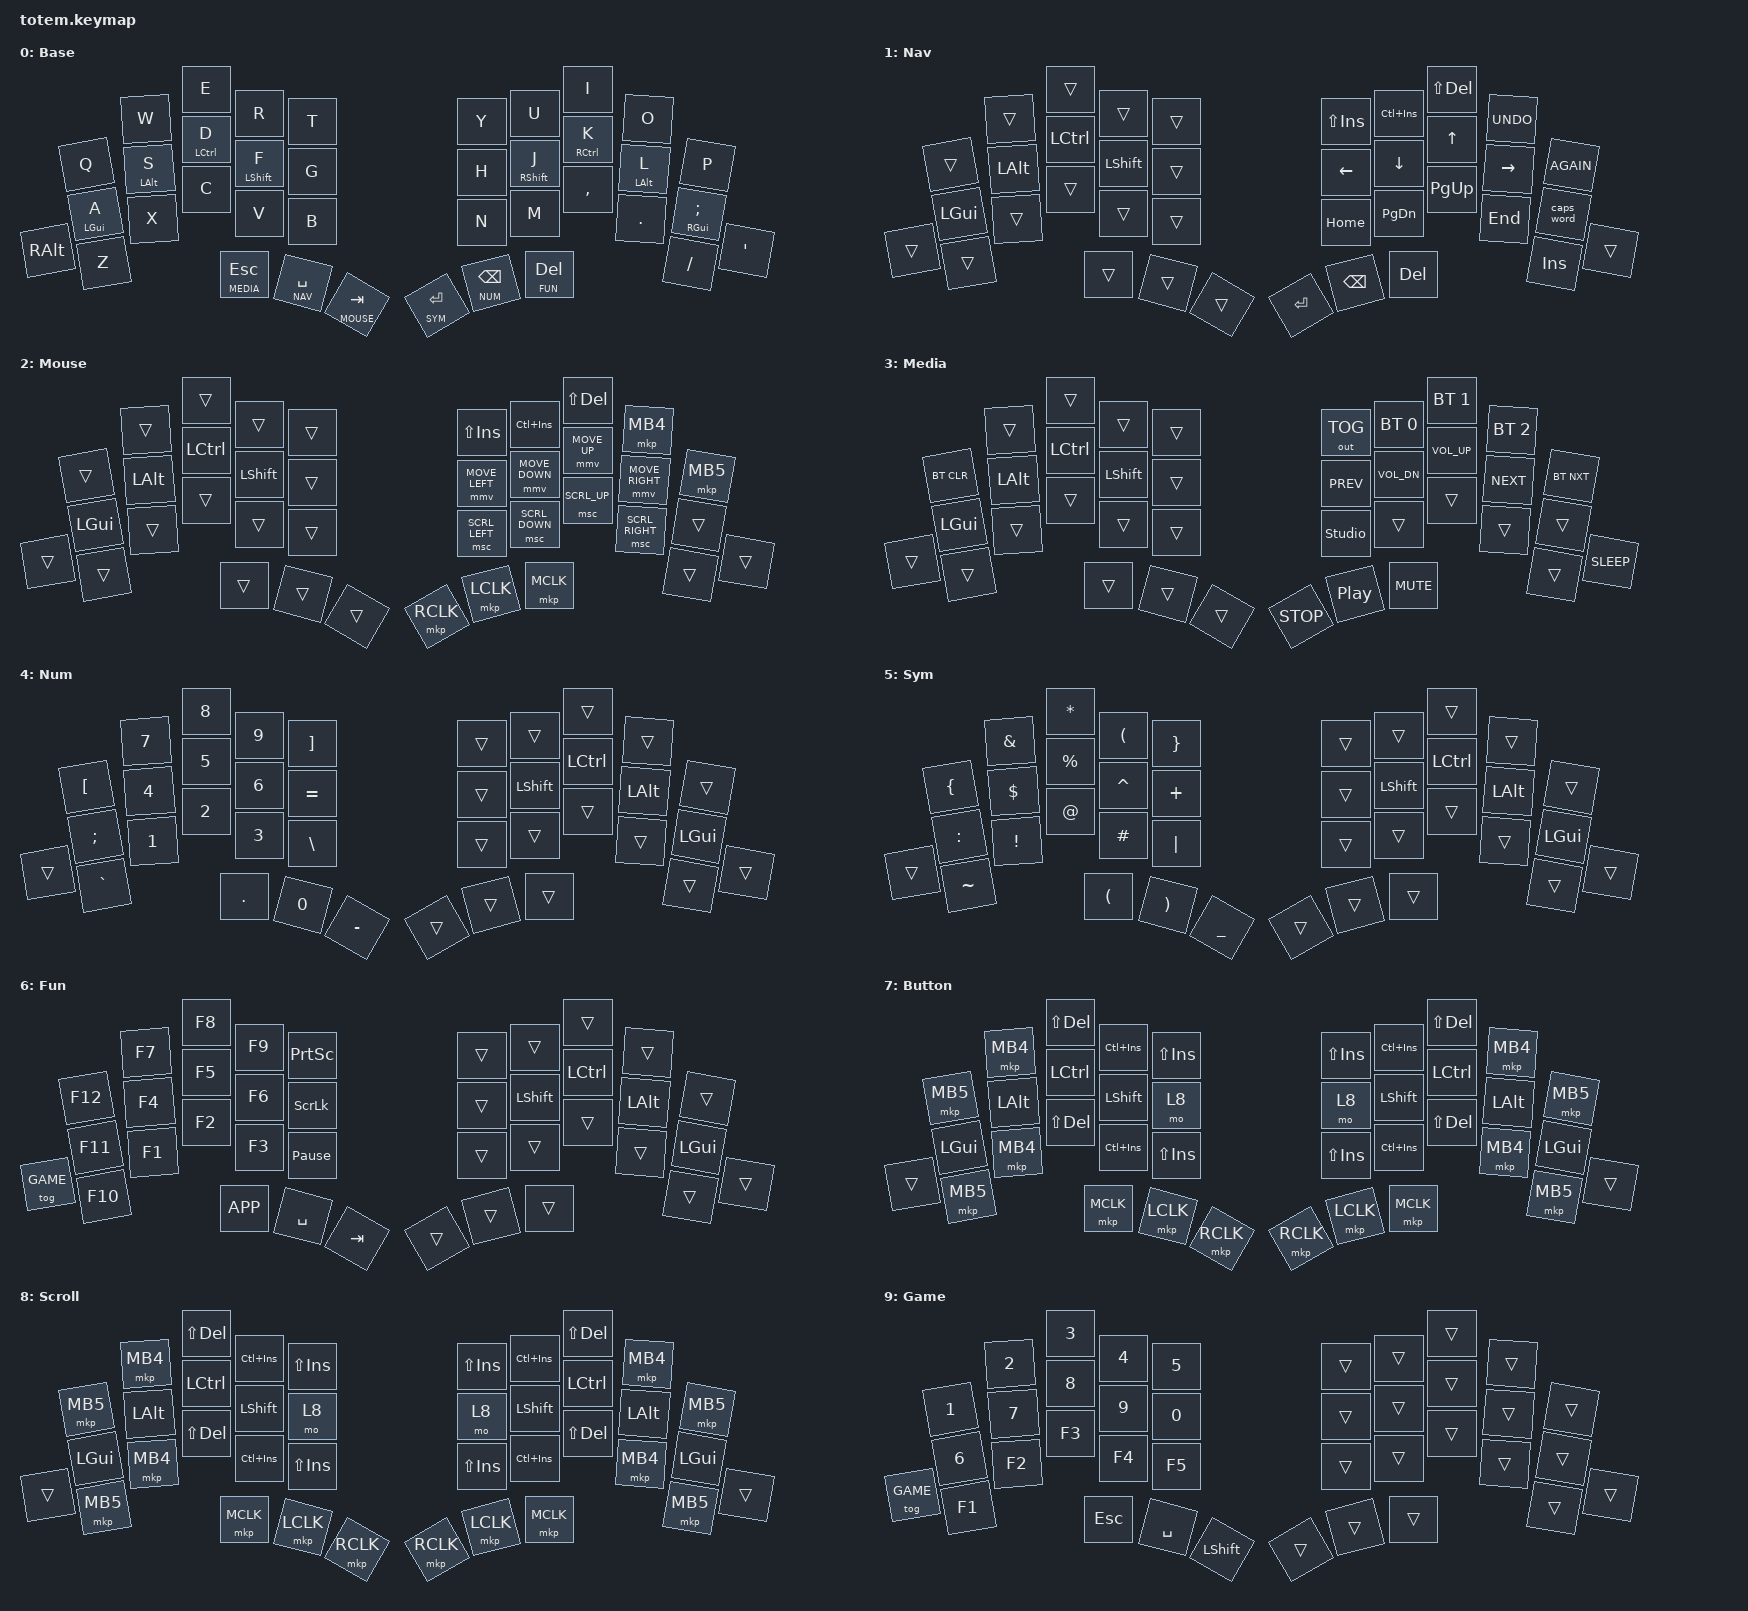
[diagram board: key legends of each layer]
//
//                                                        ▀▀▀▀▀     ▀▀▀▀▀          ▀▀█▀▀
//                                                        ▄▀▀▀▄  ▄  ▄▀▀▀▄  ▄  ▄▀▀▀▄  █  ▄▀▀▀▄
//                                                        █   █  █  █   █  █  █   █  █  █   █
//                                                         ▀▀▀   █   ▀▀▀   █   ▀▀▀   ▀   ▀▀▀
//                                                               █      ▄▄▄█▄▄▄    █   █  
//                                                               ▀      █  █  █     █▄█
//                                                             ▀▀▀▀▀    █  █  █      ▀
//                                                                      ▀  ▀  ▀
//
// ▄▄▄▄▄▄▄▄▄▄▄▄▄▄▄▄▄▄▄▄▄▄▄▄▄▄▄▄▄▄▄▄▄▄▄▄▄▄▄▄▄▄▄▄▄▄▄▄▄▄▄▄▄▄▄▄▄▄▄▄▄▄▄▄▄▄▄▄▄▄▄▄▄▄▄▄▄▄▄▄▄▄▄▄▄▄▄▄▄▄▄▄▄▄▄▄▄▄▄▄▄▄▄▄▄▄▄▄▄▄▄▄▄▄▄▄▄▄▄▄▄▄▄▄▄▄▄▄▄▄▄▄▄▄▄▄▄▄▄▄▄▄▄▄▄▄▄▄▄

#include <behaviors.dtsi>
#include <dt-bindings/zmk/keys.h>
#include <dt-bindings/zmk/pointing.h>
#include <dt-bindings/zmk/outputs.h>
#include <dt-bindings/zmk/bt.h>

#define BASE        0
#define NAV         1
#define MOUSE       2
#define MEDIA       3
#define NUM         4
#define SYM         5
#define FUN         6
#define BUTTON      7
#define SCROLL      8
#define GAME        9

// Key position definitions for 38-key Totem layout

#define KEYS_L 0 1 2 3 4 10 11 12 13 14 20 21 22 23 24 25  // left hand
#define KEYS_R 5 6 7 8 9 15 16 17 18 19 26 27 28 29 30 31  // right hand
#define THUMBS 32 33 34 35 36 37                           // thumbs

&mt {
    quick-tap-ms = <100>;
    global-quick-tap;
    flavor = "tap-preferred";
    tapping-term-ms = <170>;
};

&lt {
    tapping-term-ms = <240>;
    flavor = "balanced";
    quick-tap-ms = <150>;
};

/ {
    behaviors {
        // Timeless homerow mods for left hand
        // require-prior-idle-ms = 10500 / WPM (adjust based on typing speed)
        // Same-hand modifiers enabled (no hold-trigger restrictions)

        hml: homerow_mods_left {
            compatible = "zmk,behavior-hold-tap";
            label = "HOMEROW_MODS_LEFT";
            #binding-cells = <2>;
            flavor = "balanced";
            tapping-term-ms = <280>;
            quick-tap-ms = <175>;
            require-prior-idle-ms = <150>;
            bindings = <&kp>, <&kp>;
        };

        // Timeless homerow mods for right hand
        // Urob's timeless config: opposite hand trigger only

        hmr: homerow_mods_right {
            compatible = "zmk,behavior-hold-tap";
            label = "HOMEROW_MODS_RIGHT";
            #binding-cells = <2>;
            flavor = "balanced";
            tapping-term-ms = <280>;
            quick-tap-ms = <175>;
            require-prior-idle-ms = <150>;
            bindings = <&kp>, <&kp>;

            hold-trigger-key-positions = <KEYS_L THUMBS>;
            hold-trigger-on-release;
        };
    };

    combos {
        compatible = "zmk,combos";

        shift_caps_word_combo {
            bindings = <&caps_word>;
            key-positions = <13 16>;
            timeout-ms = <100>;
            require-prior-idle-ms = <150>;
        };
    };

    keymap {
        compatible = "zmk,keymap";

        base_layer {
            display-name = "Base";
            bindings = <
               &kp Q        &kp W        &kp E          &kp R          &kp T            &kp Y        &kp U         &kp I         &kp O        &kp P
               &hml LGUI A  &hml LALT S  &hml LCTRL D   &hml LSHFT F   &kp G            &kp H        &hmr RSHFT J  &hmr RCTRL K  &hmr LALT L  &hmr RGUI SEMICOLON
&kp RIGHT_ALT  &kp Z        &kp X        &kp C          &kp V          &kp B            &kp N        &kp M         &kp COMMA     &kp DOT      &kp SLASH            &kp SQT
                                         &lt MEDIA ESC  &lt NAV SPACE  &lt MOUSE TAB    &lt SYM RET  &lt NUM BSPC  &lt FUN DEL
            >;
        };

        nav_layer {
            display-name = "Nav";
            bindings = <
        &trans    &trans    &trans     &trans     &trans    &kp LS(INS)  &kp LC(INS)  &kp LS(DEL)  &kp K_UNDO  &kp K_AGAIN
        &kp LGUI  &kp LALT  &kp LCTRL  &kp LSHFT  &trans    &kp LEFT     &kp DOWN     &kp UP       &kp RIGHT   &caps_word
&trans  &trans    &trans    &trans     &trans     &trans    &kp HOME     &kp PG_DN    &kp PG_UP    &kp END     &kp INS      &trans
                            &trans     &trans     &trans    &kp RET      &kp BSPC     &kp DEL
            >;
        };

        mouse_layer {
            display-name = "Mouse";
            bindings = <
        &trans    &trans    &trans     &trans     &trans    &kp LS(INS)     &kp LC(INS)     &kp LS(DEL)   &mkp MB4         &mkp MB5
        &kp LGUI  &kp LALT  &kp LCTRL  &kp LSHFT  &trans    &mmv MOVE_LEFT  &mmv MOVE_DOWN  &mmv MOVE_UP  &mmv MOVE_RIGHT  &trans
&trans  &trans    &trans    &trans     &trans     &trans    &msc SCRL_LEFT  &msc SCRL_DOWN  &msc SCRL_UP  &msc SCRL_RIGHT  &trans    &trans
                            &trans     &trans     &trans    &mkp RCLK       &mkp LCLK       &mkp MCLK
            >;
        };

        media_layer {
            display-name = "Media";
            bindings = <
        &bt BT_CLR  &trans    &trans     &trans     &trans    &out OUT_TOG  &bt BT_SEL 0  &bt BT_SEL 1  &bt BT_SEL 2  &bt BT_NXT
        &kp LGUI    &kp LALT  &kp LCTRL  &kp LSHFT  &trans    &kp C_PREV    &kp C_VOL_DN  &kp C_VOL_UP  &kp C_NEXT    &trans
&trans  &trans      &trans    &trans     &trans     &trans    &studio_unlock  &trans        &trans        &trans        &trans     &kp C_SLEEP
                              &trans     &trans     &trans    &kp C_STOP    &kp C_PP      &kp C_MUTE
            >;
        };

        num_layer {
            display-name = "Num";
            bindings = <
        &kp LBKT   &kp N7  &kp N8   &kp N9  &kp RBKT     &trans  &trans     &trans     &trans    &trans
        &kp SEMI   &kp N4  &kp N5   &kp N6  &kp EQUAL    &trans  &kp LSHFT  &kp LCTRL  &kp LALT  &kp LGUI
&trans  &kp GRAVE  &kp N1  &kp N2   &kp N3  &kp BSLH     &trans  &trans     &trans     &trans    &trans    &trans
                           &kp DOT  &kp N0  &kp MINUS    &trans  &trans     &trans
            >;
        };

        sym_layer {
            display-name = "Sym";
            bindings = <
        &kp LBRC   &kp AMPS  &kp ASTRK  &kp LPAR   &kp RBRC     &trans  &trans     &trans     &trans    &trans
        &kp COLON  &kp DLLR  &kp PRCNT  &kp CARET  &kp PLUS     &trans  &kp LSHFT  &kp LCTRL  &kp LALT  &kp LGUI
&trans  &kp TILDE  &kp EXCL  &kp AT     &kp HASH   &kp PIPE     &trans  &trans     &trans     &trans    &trans    &trans
                             &kp LPAR   &kp RPAR   &kp UNDER    &trans  &trans     &trans
            >;
        };

        fun_layer {
            display-name = "Fun";
            bindings = <
        &kp F12  &kp F7  &kp F8     &kp F9     &kp PSCRN          &trans  &trans     &trans     &trans    &trans
        &kp F11  &kp F4  &kp F5     &kp F6     &kp SLCK           &trans  &kp LSHFT  &kp LCTRL  &kp LALT  &kp LGUI
&tog GAME  &kp F10  &kp F1  &kp F2     &kp F3     &kp PAUSE_BREAK    &trans  &trans     &trans     &trans    &trans    &trans
                            &kp K_APP  &kp SPACE  &kp TAB            &trans  &trans     &trans
            >;
        };

        button_layer {
            display-name = "Button";
            bindings = <
        &mkp MB5  &mkp MB4  &kp LS(DEL)  &kp LC(INS)  &kp LS(INS)    &kp LS(INS)  &kp LC(INS)  &kp LS(DEL)  &mkp MB4  &mkp MB5
        &kp LGUI  &kp LALT  &kp LCTRL    &kp LSHFT    &mo 8          &mo 8        &kp LSHFT    &kp LCTRL    &kp LALT  &kp LGUI
&trans  &mkp MB5  &mkp MB4  &kp LS(DEL)  &kp LC(INS)  &kp LS(INS)    &kp LS(INS)  &kp LC(INS)  &kp LS(DEL)  &mkp MB4  &mkp MB5  &trans
                            &mkp MCLK    &mkp LCLK    &mkp RCLK      &mkp RCLK    &mkp LCLK    &mkp MCLK
            >;
        };

        scroll_layer {
            display-name = "Scroll";
            bindings = <
        &mkp MB5  &mkp MB4  &kp LS(DEL)  &kp LC(INS)  &kp LS(INS)    &kp LS(INS)  &kp LC(INS)  &kp LS(DEL)  &mkp MB4  &mkp MB5
        &kp LGUI  &kp LALT  &kp LCTRL    &kp LSHFT    &mo 8          &mo 8        &kp LSHFT    &kp LCTRL    &kp LALT  &kp LGUI
&trans  &mkp MB5  &mkp MB4  &kp LS(DEL)  &kp LC(INS)  &kp LS(INS)    &kp LS(INS)  &kp LC(INS)  &kp LS(DEL)  &mkp MB4  &mkp MB5  &trans
                            &mkp MCLK    &mkp LCLK    &mkp RCLK      &mkp RCLK    &mkp LCLK    &mkp MCLK
            >;
        };

        game_layer {
            display-name = "Game";
            bindings = <
           &kp N1  &kp N2  &kp N3  &kp N4  &kp N5     &trans  &trans  &trans  &trans  &trans
           &kp N6  &kp N7  &kp N8  &kp N9  &kp N0     &trans  &trans  &trans  &trans  &trans
&tog GAME  &kp F1  &kp F2  &kp F3  &kp F4  &kp F5     &trans  &trans  &trans  &trans  &trans  &trans
                           &kp ESC  &kp SPACE  &kp LSHFT    &trans  &trans  &trans
            >;
        };
    };
};
